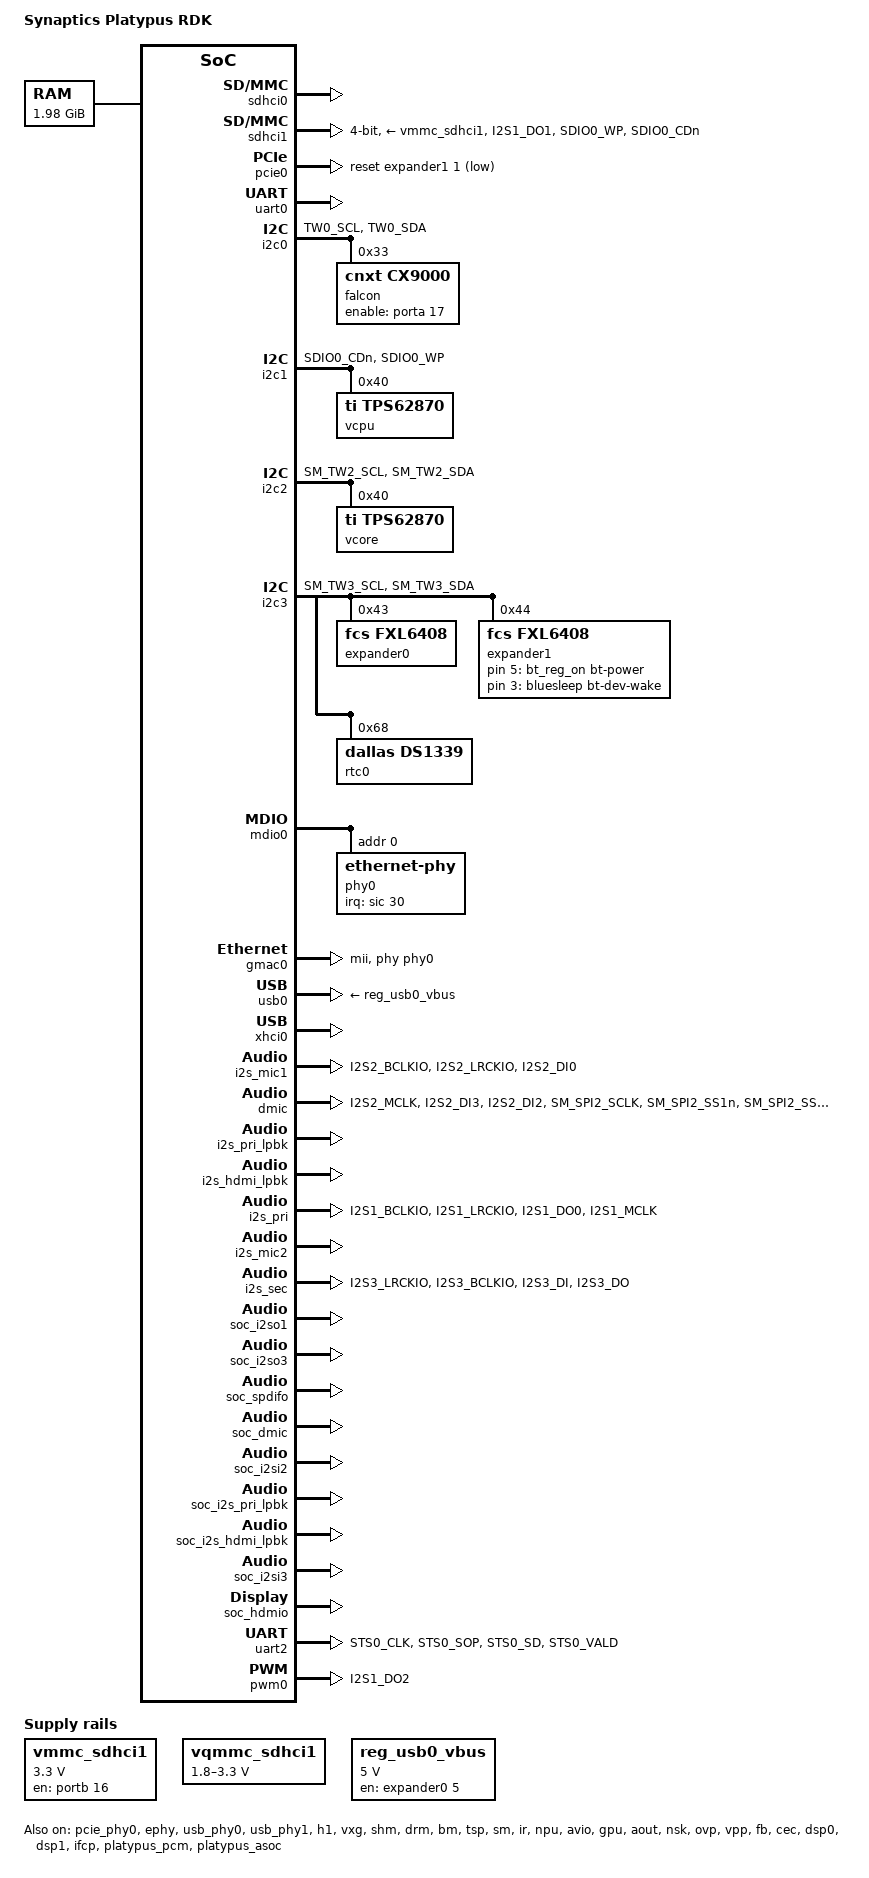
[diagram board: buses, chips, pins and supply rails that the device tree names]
// SPDX-License-Identifier: (GPL-2.0 OR MIT)
/*
 * Copyright (C) 2024 Synaptics Incorporated
 *
 * Author: Kaicheng Xie <Kaicheng.xie@synaptics.com>
 */

/dts-v1/;

/memreserve/ 0x7f000000 0x01000000;

#include <dt-bindings/gpio/gpio.h>

#include "platypus.dtsi"

/ {
	model = "Synaptics Platypus RDK";
	compatible = "syna,platypus-rdk", "syna,platypus";

	cpus {
		cpu@0 {
			cpu0-supply = <&vcpu>;
		};
	};

	chosen {
		stdout-path = "serial0:115200n8";
	};

	memory {
		device_type = "memory";
		reg = <0 0x01000000 0 0x7f000000>;
	};

	dmabuf_heap {
		compatible = "syna,berlin-heaps";
		pool-num = <2>;
		reg-names = "NonSecure-NC", "Secure";
		reg = <0 0x7f000000 0 0x00800000>,
		      <0 0x7f800000 0 0x00800000>;
		attributes-num-per-pool = <2>;
		pool-attributes = <0x00000105 0x00000F3A 0x00000102 0x00000F3D>;
	};

	regulators {
		compatible = "simple-bus";
		#address-cells = <1>;
		#size-cells = <0>;

		vmmc_sdhci1: vmmc_sdhci1 {
			compatible = "regulator-fixed";
			regulator-min-microvolt = <3300000>;
			regulator-max-microvolt = <3300000>;
			regulator-name = "vmmc_sdio";
			enable-active-high;
			regulator-boot-on;
			gpio = <&portb 16 GPIO_ACTIVE_HIGH>;
		};

		vqmmc_sdhci1: vqmmc_sdhci1 {
			compatible = "regulator-gpio";
			regulator-min-microvolt = <1800000>;
			regulator-max-microvolt = <3300000>;
			regulator-name = "vqmmc_sdio";
			regulator-type = "voltage";
			enable-active-high;
			gpios = <&porta 17 GPIO_ACTIVE_HIGH>;
			states = <1800000 0x0
				  3300000 0x1>;
		};

		reg_usb0_vbus: usb0_vbus {
			compatible = "regulator-fixed";
			regulator-name = "usb0_vbus";
			regulator-min-microvolt = <5000000>;
			regulator-max-microvolt = <5000000>;
			gpio = <&expander0 5 GPIO_ACTIVE_HIGH>;
			enable-active-high;
		};
	};

	bt_reg_on: bt_reg_on {
		compatible = "syna,rfkill";
		bt-power-gpio = <&expander1 5 GPIO_ACTIVE_HIGH>;
	};

	bluesleep: bluesleep {
		compatible = "syna,bluesleep";
		bt-dev-wake-gpio = <&expander1 3 GPIO_ACTIVE_HIGH>;
	};

};

&pinctrl {
	i2c0_pmux: i2c0-pmux {
		groups = "TW0_SCL", "TW0_SDA";
		function = "tw0";
		drive-strength = <7>;
	};

	i2c1_pmux: i2c1-pmux {
		groups = "SDIO0_CDn", "SDIO0_WP";
		function = "tw1a";
		drive-strength = <7>;
	};

	hdmi_pwr_pmux: hdmi_pwr-pmux {
		groups = "GPIO_A0";
		function = "gpio";
	};

	sdhci1_cd_pmux: sdhci1-cd-pmux {
		groups = "SDIO0_CDn";
		function = "sdio";
		drive-strength = <7>;
	};

	sdhci1_gpio_pmux: sdhci1-gpio-pmux {
		groups = "SDIO0_WP";
		function = "gpio";
	};

	uart2_pmux: uart2-pmux {
		groups = "STS0_CLK", "STS0_SOP", "STS0_SD", "STS0_VALD";
		function = "uart2b";
		drive-strength = <3>;
	};

};

&sm_pinctrl {
	i2c2_pmux: i2c2-pmux {
		groups = "SM_TW2_SCL", "SM_TW2_SDA";
		function = "tw2";
		drive-strength = <7>;
	};

	i2c3_pmux: i2c3-pmux {
		groups = "SM_TW3_SCL", "SM_TW3_SDA";
		function = "tw3";
		drive-strength = <7>;
	};

	pdm_gpio_pmux: pdm-gpio-pmux {
		groups = "SM_SPI2_SCLK", "SM_SPI2_SS1n", "SM_SPI2_SS0n";
		function = "gpio";
	};
};

&avio_pinctrl {
	i2s1_pmux: i2s1-pmux {
		groups = "I2S1_BCLKIO", "I2S1_LRCKIO", "I2S1_DO0", "I2S1_MCLK";
		function = "i2s1";
	};

	falcon_gpio_pmux: falcon_gpio-pmux {
		groups = "I2S1_DO1";
		function = "gpio";
	};

	i2s2_pmux: i2s2-pmux {
		groups = "I2S2_BCLKIO", "I2S2_LRCKIO", "I2S2_DI0";
		function = "i2s2";
	};

	i2s3_pmux: i2s3-pmux {
		groups = "I2S3_LRCKIO", "I2S3_BCLKIO", "I2S3_DI", "I2S3_DO";
		function = "i2s3";
	};

	spdifo_pmux: spdifo-pmux {
		groups = "SPDIFO";
		function = "spdifo";
	};

	pdm_pmux: pdm-pmux {
		groups = "I2S2_MCLK", "I2S2_DI3", "I2S2_DI2";
		function = "pdm";
	};

	pwm2_pmux: pwm2-pmux {
		groups = "I2S1_DO2";
		function = "pwm";
	};

	sdhci1_pmux: sdhci1-pmux {
		groups = "I2S1_DO1";
		function = "gpio";
	};
};

&sdhci0 {
	status = "okay";
	sdclkdl-dc = /bits/ 8 <26>;
	mmc-ddr-1_8v;
	mmc-hs200-1_8v;
	mmc-hs400-1_8v;
	dll-calibration;
	dll-delay-offset = <300>;
};

&sdhci1 {
	status = "okay";
	pinctrl-0 = <&sdhci1_pmux>, <&sdhci1_gpio_pmux>, <&sdhci1_cd_pmux>;
	pinctrl-names = "default";
	bus-width = <4>;
	no-sdio;
	no-mmc;
	disable-wp;
	sdclkdl-dc = /bits/ 8 <75>;
	pad-sp = /bits/ 8 <12>;
	pad-sn = /bits/ 8 <12>;
	vmmc-supply = <&vmmc_sdhci1>;
	vqmmc-supply = <&vqmmc_sdhci1>;
};

&pcie_phy0 {
	status = "okay";
};

&pcie0 {
	status = "okay";
	reset-gpios = <&expander1 1 GPIO_ACTIVE_LOW>;
};

&uart0 {
	status = "okay";
};

&i2c0 {
	status = "okay";
	pinctrl-names = "default";
	pinctrl-0 = <&i2c0_pmux>;

	falcon: cx9000@33 {
		compatible = "cnxt,cx9000";
		pinctrl-names = "default";
		pinctrl-0 = <&falcon_gpio_pmux>;

		#sound-dai-cells = <0>;
		reg = <0x33>;
		enable-gpios = <&porta 17 GPIO_ACTIVE_HIGH>;
		status = "okay";
	};
};

&i2c1 {
	status = "okay";
	pinctrl-names = "default";
	pinctrl-0 = <&i2c1_pmux>;

	vcpu: regulator@40 {
		compatible = "ti,tps62870";
		reg = <0x40>;
		status = "okay";
		regulator-boot-on;
		regulator-always-on;
		regulator-active-discharge = <0>;
		regulator-name = "vcpu";
		regulator-min-microvolt = <700000>;
		regulator-max-microvolt = <987500>;
	};

};

&i2c2 {
	status = "okay";
	pinctrl-names = "default";
	pinctrl-0 = <&i2c2_pmux>;

	vcore: regulator@40 {
		compatible = "ti,tps62870";
		reg = <0x40>;
		status = "okay";
		regulator-boot-on;
		regulator-always-on;
		regulator-active-discharge = <0>;
		regulator-name = "vcore";
		regulator-min-microvolt = <700000>;
		regulator-max-microvolt = <987500>;
	};
};

&i2c3 {
	status = "okay";
	pinctrl-names = "default";
	pinctrl-0 = <&i2c3_pmux>;
	no-irq-suspend;

	expander0: gpio@43 {
		compatible = "fcs,fxl6408";
		reg = <0x43>;
		gpio-controller;
		#gpio-cells = <2>;
	};

	expander1: gpio@44 {
		compatible = "fcs,fxl6408";
		reg = <0x44>;
		gpio-controller;
		#gpio-cells = <2>;
		shutdown-mask = /bits/ 8 <0x1>;
		shutdown-val = /bits/ 8 <0x0>;

		soc_global_rstn {
			gpio-hog;
			gpios = <0 GPIO_ACTIVE_HIGH>;
			output-high;
		};
	};

	rtc0: rtc@68 {
		compatible = "dallas,ds1339";
		wakeup-source;
		reg = <0x68>;
	};
};

&ephy {
	status = "okay";
};

&mdio0 {
	phy0: ethernet-phy@0 {
		reg = <0>;
		interrupt-parent = <&sic>;
		interrupts = <30>;
		ephy = <&ephy>;
		eee-broken-100tx;
	};
};

&gmac0 {
	status = "okay";
	phy-handle = <&phy0>;
	phy-mode = "mii";
};

&usb0 {
	vbus-supply = <&reg_usb0_vbus>;
	status = "okay";
};

&usb_phy0 {
	status = "okay";
};

&xhci0 {
	status = "okay";
};

&usb_phy1{
	status = "okay";
};

&h1 {
	status = "okay";
};

&vxg {
	status = "okay";
};

&shm {
	status = "okay";
};

&drm {
	status = "okay";
};

&bm {
	status = "okay";
};

&tsp {
	status = "okay";
};

&sm {
	status = "okay";
};

&ir {
	status = "okay";
};

&npu {
	status = "okay";
};

&avio {
	status = "okay";
	vpp {
		pinctrl-0 = <&hdmi_pwr_pmux>;
		pinctrl-names = "default";
		hdtx5v-gpio = <&portb 3 GPIO_ACTIVE_HIGH>; /* SOC GPIO 35 */
	};
};

&gpu {
	status = "okay";
};

&aout {
	status = "okay";
	pinctrl-0 = <&i2s1_pmux>, <&spdifo_pmux>;
	pinctrl-names = "default";
};

&nsk {
	status = "okay";
};

&ovp {
	status = "okay";
};

&vpp {
	status = "okay";
};

&fb {
	status = "okay";
};

&cec {
	status = "okay";
};

&dsp0 {
	status = "okay";
};

&dsp1 {
	status = "okay";
};

&ifcp {
	status = "okay";
};

&hdmi_out {
	status = "okay";
};

&i2s_mic1 {
	status = "okay";
	pinctrl-0 = <&i2s2_pmux>;
	pinctrl-names = "default";
	intlmode;
};

&dmic {
	status = "okay";
	pinctrl-0 = <&pdm_pmux>, <&pdm_gpio_pmux>;
	pinctrl-names = "default";
	pdm-type = <1>;
	pdm-clk-sel = <2>;
};

&i2s_pri_lpbk {
	status = "okay";
};

&i2s_hdmi_lpbk {
	status = "okay";
};

&platypus_pcm {
	status = "okay";
};

&i2s_pri {
	status = "okay";
	pinctrl-0 = <&i2s1_pmux>;
	pinctrl-names = "default";
};

&spdif_out {
	status = "okay";
	pinctrl-0 = <&spdifo_pmux>;
	pinctrl-names = "default";
};

&i2s_mic2 {
	status = "okay";
	duplex;
	disablemicmute;
};

&i2s_sec {
	status = "okay";
	pinctrl-0 = <&i2s3_pmux>;
	pinctrl-names = "default";
	duplex;
	sample-period = <32>;
};

&platypus_asoc {
	status = "okay";

	soc_i2so1: soc-i2so1 {
		status = "okay";
		stream-name = "soc-i2so1";
		link-name = "soc-i2so1";
		format = "i2s";
		continuous-clock;
		bitclock-inversion;
		frame-inversion;
		cpu-node = <&i2s_pri>;
		codec-name = "snd-soc-dummy";
		codec-dai-name = "snd-soc-dummy-dai";
		platform-node = <&platypus_pcm>;
	};

	soc_i2so3: soc-i2so3 {
		status = "okay";
		stream-name = "soc-i2so3";
		link-name = "soc-i2so3";
		format = "dsp_b";
		cpu-node = <&i2s_sec>;
		codec-name = "snd-soc-dummy";
		codec-dai-name = "snd-soc-dummy-dai";
		platform-node = <&platypus_pcm>;
	};

	soc_spdifo: soc-spdifo {
		status = "okay";
		stream-name = "soc-spdifo";
		link-name = "soc-spdifo";
		cpu-node = <&spdif_out>;
		codec-name = "snd-soc-dummy";
		codec-dai-name = "snd-soc-dummy-dai";
		platform-node = <&platypus_pcm>;
	};

	soc_dmic: soc-dmic {
		status = "okay";
		stream-name = "soc-dmic";
		link-name = "soc-dmic";
		cpu-node = <&dmic>;
		codec-name = "snd-soc-dummy";
		codec-dai-name = "snd-soc-dummy-dai";
		platform-node = <&platypus_pcm>;
	};

	soc_i2si2: soc-i2si2 {
		status = "okay";
		stream-name = "soc-i2si2";
		link-name = "soc-i2si2";
		format = "i2s";
		bitclock-inversion;
		frame-inversion;
		bitclock-master;
		frame-master;
		cpu-node = <&i2s_mic1>;
		codec-name = "snd-soc-dummy";
		codec-dai-name = "snd-soc-dummy-dai";
		platform-node = <&platypus_pcm>;
	};

	soc_i2s_pri_lpbk: soc-i2s-pri-lpbk {
		status = "okay";
		stream-name = "soc-i2s-pri-lpbk";
		link-name = "soc-i2s-pri-lpbk";
		format = "i2s";
		cpu-node = <&i2s_pri_lpbk>;
		codec-name = "snd-soc-dummy";
		codec-dai-name = "snd-soc-dummy-dai";
		platform-node = <&platypus_pcm>;
	};

	soc_i2s_hdmi_lpbk: soc-i2s-hdmi-lpbk {
		status = "okay";
		stream-name = "soc-i2s-hdmi-lpbk";
		link-name = "soc-i2s-hdmi-lpbk";
		format = "i2s";
		cpu-node = <&i2s_hdmi_lpbk>;
		codec-name = "snd-soc-dummy";
		codec-dai-name = "snd-soc-dummy-dai";
		platform-node = <&platypus_pcm>;
	};

	soc_i2si3: soc-i2si3 {
		status = "okay";
		stream-name = "btsco-in";
		link-name = "btsco-in";
		format = "dsp_b";
		continuous-clock;
		cpu-node = <&i2s_mic2>;
		codec-name = "snd-soc-dummy";
		codec-dai-name = "snd-soc-dummy-dai";
		platform-node = <&platypus_pcm>;
	};

	soc_hdmio: soc-hdmio {
		status = "okay";
		stream-name = "soc-hdmio";
		link-name = "soc-hdmio";
		format = "i2s";
		cpu-node = <&hdmi_out>;
		codec-name = "snd-soc-dummy";
		codec-dai-name = "snd-soc-dummy-dai";
		platform-node = <&platypus_pcm>;
	};
};

&uart2 {
	pinctrl-0 = <&uart2_pmux>;
	pinctrl-names = "default";
	status = "okay";
};

&axi_meter {
	status = "okay";
};

&pwm0 {
	pinctrl-names = "default";
	pinctrl-0 = <&pwm2_pmux>;
	status = "okay";
};
